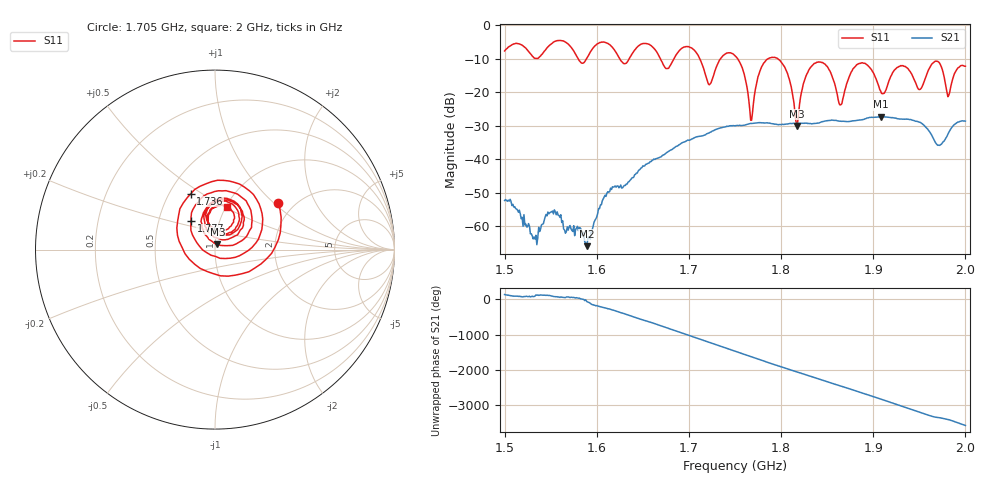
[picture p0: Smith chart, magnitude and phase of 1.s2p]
! NanoVNA-App by SYSJOINT et al v1.1.209 (+OD18)
! Date: 2026-01-21 14:40:35
! Start: 1,5GHz Stop: 2GHz Points: 501
! S-Parameter data: F S11 S21 S12 S22
# Hz S RI R 50
!  Frequency  S11_Real  S11_Imag  S21_Real  S21_Imag  S12_Real  S12_Imag  S22_Real  S22_Imag
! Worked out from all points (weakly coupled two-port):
!   501 points, 1.5 GHz to 2 GHz, reference 50 ohm
!   highest |S21| = -27.31 dB at 1.908 GHz (marker M1); lowest = -65.9 dB at 1.589 GHz (marker M2)
!   lowest |S11| = -30.0 dB at 1.817 GHz (marker M3), VSWR 1.06, Z = 51.3 + j2.92 ohm
!   |S11| at or under -10 dB: 1.712 GHz to 1.734 GHz (22.17 MHz wide, 1.29 % of centre); 1.753 GHz to 1.786 GHz (32.73 MHz wide, 1.85 % of centre); 1.797 GHz to end of sweep (the widest 3 of 6)
!   S12 and S22 are empty: the file has one direction only
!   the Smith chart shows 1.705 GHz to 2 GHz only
!   S11 on the Smith chart (normalised r, x): 1.705 GHz: 1.67, +1.06; 1.736 GHz: 0.64, +0.45; 1.777 GHz: 0.73, +0.24; 2 GHz: 1.01, +0.51
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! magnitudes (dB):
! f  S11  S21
! 1.5 GHz  -7.6  -52.3
! 1.533 GHz  -9.8  -63.8
! 1.552 GHz  -5.3  -55.5
! 1.584 GHz  -11.3  -62.9
! 1.589 GHz  -9.9  -65.9
! 1.667 GHz  -8.9  -39.6
! 1.705 GHz  -7.2  -33.7
! 1.722 GHz  -17.7  -32.1
! 1.736 GHz  -9.4  -30.5
! 1.75 GHz  -9.0  -30.0
! 1.767 GHz  -28.3  -29.3
! 1.777 GHz  -13.7  -29.0
! 1.801 GHz  -11.3  -29.6
! 1.817 GHz  -30.0  -29.3
! 1.834 GHz  -12.0  -29.3
! 1.864 GHz  -23.8  -28.6
! 1.886 GHz  -11.3  -28.2
! 1.908 GHz  -19.6  -27.3
! 1.917 GHz  -16.6  -27.4
! 1.971 GHz  -10.9  -35.8
! 1.981 GHz  -21.3  -32.5
! 2 GHz  -12.2  -28.6
